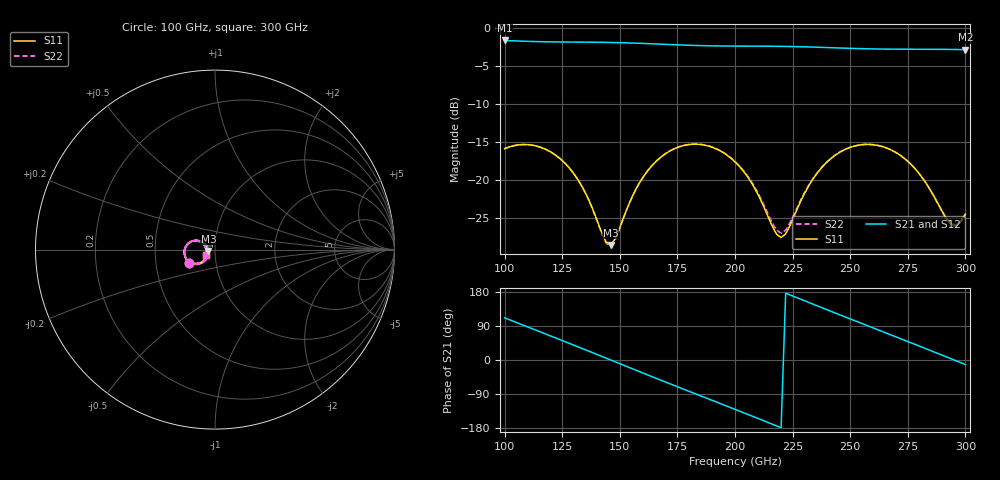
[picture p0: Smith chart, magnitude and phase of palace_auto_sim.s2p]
#  GHZ S DB R 50
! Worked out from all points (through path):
!   101 points, 100 GHz to 300 GHz, reference 50 ohm
!   highest |S21| = -1.62 dB at 100 GHz (marker M1); lowest = -2.8 dB at 300 GHz (marker M2)
!   group delay of S21, straight-line fit = 6.71 ps
!   lowest |S11| = -28.5 dB at 146 GHz (marker M3), VSWR 1.08, Z = 46.4 - j0.684 ohm
!   |S11| at or under -10 dB: start of sweep to end of sweep
!   |S22| runs from -28.7 to -15.3 dB; largest |S21 - S12| = 9.5e-14
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100  -15.87 -152.4  -1.62 111.2  -1.62 111.2  -15.87 -152.4
108  -15.32 -168.4  -1.72 92.0  -1.72 92.0  -15.32 -168.4
116  -15.72 175.9  -1.79 72.9  -1.79 72.9  -15.72 175.9
126  -17.71 158.2  -1.83 48.9  -1.83 48.9  -17.72 158.2
134  -21.05 149.1  -1.84 29.5  -1.84 29.5  -21.08 148.9
144  -28.12 174.2  -1.88 5.1  -1.88 5.1  -28.28 174.3
146  -28.52 -168.7  -1.89 0.2  -1.89 0.2  -28.69 -168.2
158  -20.64 -132.8  -1.99 -29.3  -1.99 -29.3  -20.65 -132.0
168  -16.93 -145.8  -2.11 -53.7  -2.11 -53.7  -16.92 -145.0
176  -15.60 -159.9  -2.21 -73.0  -2.21 -73.0  -15.58 -159.2
184  -15.29 -174.8  -2.29 -92.1  -2.29 -92.1  -15.26 -174.0
200  -17.60 157.7  -2.36 -130.3  -2.36 -130.3  -17.53 158.9
210  -21.89 149.5  -2.37 -154.4  -2.37 -154.4  -21.71 151.2
220  -27.57 -172.9  -2.40 -178.8  -2.40 -178.8  -26.99 -173.3
234  -19.78 -137.2  -2.50 147.0  -2.50 147.0  -19.71 -138.6
244  -16.62 -150.0  -2.60 122.8  -2.60 122.8  -16.60 -150.9
252  -15.51 -163.4  -2.68 103.6  -2.68 103.6  -15.50 -164.1
260  -15.34 -177.3  -2.74 84.5  -2.74 84.5  -15.34 -177.9
268  -16.06 169.3  -2.77 65.5  -2.77 65.5  -16.07 168.8
282  -19.98 153.0  -2.78 31.9  -2.78 31.9  -20.00 152.4
294  -25.79 178.1  -2.80 2.7  -2.80 2.7  -25.93 177.6
300  -24.46 -152.1  -2.83 -11.9  -2.83 -11.9  -24.57 -151.9
